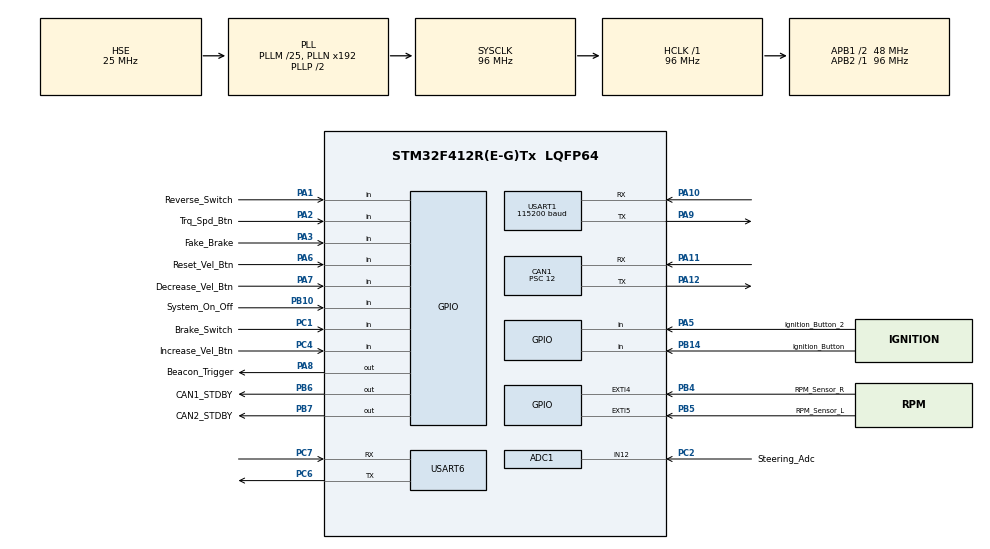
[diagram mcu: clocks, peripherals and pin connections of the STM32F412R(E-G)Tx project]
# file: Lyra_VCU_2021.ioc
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ADC1.Channel-1\#ChannelRegularConversion=ADC_CHANNEL_12
ADC1.ContinuousConvMode=ENABLE
ADC1.DMAContinuousRequests=ENABLE
ADC1.NbrOfConversion=1
ADC1.NbrOfConversionFlag=1
ADC1.Rank-1\#ChannelRegularConversion=1
ADC1.SamplingTime-1\#ChannelRegularConversion=ADC_SAMPLETIME_480CYCLES
ADC1.master=1
CAN1.ABOM=ENABLE
CAN1.BS1=CAN_BS1_13TQ
CAN1.BS2=CAN_BS2_2TQ
CAN1.CalculateBaudRate=250000
CAN1.CalculateTimeBit=4000.00
CAN1.CalculateTimeQuantum=250.0
CAN1.Prescaler=12
Dma.ADC1.2.Direction=DMA_PERIPH_TO_MEMORY
Dma.ADC1.2.FIFOMode=DMA_FIFOMODE_DISABLE
Dma.ADC1.2.Instance=DMA2_Stream0
Dma.ADC1.2.MemDataAlignment=DMA_MDATAALIGN_HALFWORD
Dma.ADC1.2.MemInc=DMA_MINC_ENABLE
Dma.ADC1.2.Mode=DMA_CIRCULAR
Dma.ADC1.2.PeriphDataAlignment=DMA_PDATAALIGN_HALFWORD
Dma.ADC1.2.PeriphInc=DMA_PINC_DISABLE
Dma.ADC1.2.Priority=DMA_PRIORITY_LOW
Dma.Request0=USART1_RX
Dma.Request1=USART1_TX
Dma.Request2=ADC1
Dma.Request3=USART6_RX
Dma.Request4=USART6_TX
Dma.USART1_RX.0.Direction=DMA_PERIPH_TO_MEMORY
Dma.USART1_RX.0.FIFOMode=DMA_FIFOMODE_DISABLE
Dma.USART1_RX.0.Instance=DMA2_Stream2
Dma.USART1_RX.0.MemDataAlignment=DMA_MDATAALIGN_BYTE
Dma.USART1_RX.0.MemInc=DMA_MINC_ENABLE
Dma.USART1_RX.0.Mode=DMA_NORMAL
Dma.USART1_RX.0.PeriphDataAlignment=DMA_PDATAALIGN_BYTE
Dma.USART1_RX.0.PeriphInc=DMA_PINC_DISABLE
Dma.USART1_RX.0.Priority=DMA_PRIORITY_LOW
Dma.USART1_TX.1.Direction=DMA_MEMORY_TO_PERIPH
Dma.USART1_TX.1.FIFOMode=DMA_FIFOMODE_DISABLE
Dma.USART1_TX.1.Instance=DMA2_Stream7
Dma.USART1_TX.1.MemDataAlignment=DMA_MDATAALIGN_BYTE
Dma.USART1_TX.1.MemInc=DMA_MINC_ENABLE
Dma.USART1_TX.1.Mode=DMA_CIRCULAR
Dma.USART1_TX.1.PeriphDataAlignment=DMA_PDATAALIGN_BYTE
Dma.USART1_TX.1.PeriphInc=DMA_PINC_DISABLE
Dma.USART1_TX.1.Priority=DMA_PRIORITY_LOW
Dma.USART6_RX.3.Direction=DMA_PERIPH_TO_MEMORY
Dma.USART6_RX.3.FIFOMode=DMA_FIFOMODE_DISABLE
Dma.USART6_RX.3.Instance=DMA2_Stream1
Dma.USART6_RX.3.MemDataAlignment=DMA_MDATAALIGN_BYTE
Dma.USART6_RX.3.MemInc=DMA_MINC_ENABLE
Dma.USART6_RX.3.Mode=DMA_CIRCULAR
Dma.USART6_RX.3.PeriphDataAlignment=DMA_PDATAALIGN_BYTE
Dma.USART6_RX.3.PeriphInc=DMA_PINC_DISABLE
Dma.USART6_RX.3.Priority=DMA_PRIORITY_LOW
Dma.USART6_TX.4.Direction=DMA_MEMORY_TO_PERIPH
Dma.USART6_TX.4.FIFOMode=DMA_FIFOMODE_DISABLE
Dma.USART6_TX.4.Instance=DMA2_Stream6
Dma.USART6_TX.4.MemDataAlignment=DMA_MDATAALIGN_BYTE
Dma.USART6_TX.4.MemInc=DMA_MINC_ENABLE
Dma.USART6_TX.4.Mode=DMA_CIRCULAR
Dma.USART6_TX.4.PeriphDataAlignment=DMA_PDATAALIGN_BYTE
Dma.USART6_TX.4.PeriphInc=DMA_PINC_DISABLE
Dma.USART6_TX.4.Priority=DMA_PRIORITY_LOW
Mcu.Family=STM32F4
Mcu.Name=STM32F412R(E-G)Tx
Mcu.Package=LQFP64
NVIC.CAN1_RX0_IRQn=true\:15\:0\:true\:false\:true\:true\:true
NVIC.CAN1_RX1_IRQn=true\:15\:0\:true\:false\:true\:true\:true
NVIC.CAN1_TX_IRQn=true\:15\:0\:true\:false\:true\:true\:true
NVIC.DMA2_Stream0_IRQn=true\:0\:0\:false\:false\:true\:false\:true
NVIC.DMA2_Stream1_IRQn=true\:0\:0\:false\:false\:true\:false\:true
NVIC.DMA2_Stream2_IRQn=true\:0\:0\:false\:false\:true\:false\:true
NVIC.DMA2_Stream6_IRQn=true\:0\:0\:false\:false\:true\:false\:true
NVIC.DMA2_Stream7_IRQn=true\:0\:0\:false\:false\:true\:false\:true
NVIC.EXTI4_IRQn=true\:0\:0\:false\:false\:true\:true\:true
NVIC.EXTI9_5_IRQn=true\:0\:0\:false\:false\:true\:true\:true
NVIC.PVD_IRQn=true\:0\:0\:false\:false\:true\:true\:true
NVIC.PriorityGroup=NVIC_PRIORITYGROUP_4
NVIC.TIM6_IRQn=true\:0\:0\:false\:false\:true\:true\:true
PA1.GPIO_Label=Reverse_Switch
PA1.Signal=GPIO_Input
PA10.Mode=Asynchronous
PA10.Signal=USART1_RX
PA11.Mode=CAN_Activate
PA11.Signal=CAN1_RX
PA12.Mode=CAN_Activate
PA12.Signal=CAN1_TX
PA13.Mode=Serial_Wire
PA13.Signal=SYS_JTMS-SWDIO
PA14.Mode=Serial_Wire
PA14.Signal=SYS_JTCK-SWCLK
PA2.GPIO_Label=Trq_Spd_Btn
PA2.GPIO_PuPd=GPIO_PULLUP
PA2.Signal=GPIO_Input
PA3.GPIO_Label=Fake_Brake
PA3.Signal=GPIO_Input
PA5.GPIO_Label=Ignition_Button_2
PA5.GPIO_PuPd=GPIO_NOPULL
PA5.Signal=GPIO_Input
PA6.GPIO_Label=Reset_Vel_Btn
PA6.Signal=GPIO_Input
PA7.GPIO_Label=Decrease_Vel_Btn
PA7.GPIO_PuPd=GPIO_NOPULL
PA7.Signal=GPIO_Input
PA8.GPIO_Label=Beacon_Trigger
PA8.GPIO_PuPd=GPIO_PULLDOWN
PA8.Signal=GPIO_Output
PA9.Mode=Asynchronous
PA9.Signal=USART1_TX
PB10.GPIO_Label=System_On_Off
PB10.Signal=GPIO_Input
PB14.GPIO_Label=Ignition_Button
PB14.Signal=GPIO_Input
PB4.GPIO_Label=RPM_Sensor_R
PB4.GPIO_PuPd=GPIO_PULLUP
PB4.Signal=GPXTI4
PB5.GPIO_Label=RPM_Sensor_L
PB5.Signal=GPXTI5
PB6.GPIO_Label=CAN1_STDBY
PB6.Signal=GPIO_Output
PB7.GPIO_Label=CAN2_STDBY
PB7.Signal=GPIO_Output
PC1.GPIO_Label=Brake_Switch
PC1.GPIO_PuPd=GPIO_PULLDOWN
PC1.Signal=GPIO_Input
PC14-OSC32_IN.Mode=LSE-External-Oscillator
PC14-OSC32_IN.Signal=RCC_OSC32_IN
PC15-OSC32_OUT.Mode=LSE-External-Oscillator
PC15-OSC32_OUT.Signal=RCC_OSC32_OUT
PC2.GPIO_Label=Steering_Adc
PC2.Signal=SharedAnalog_PC2
PC4.GPIO_Label=Increase_Vel_Btn
PC4.GPIO_PuPd=GPIO_NOPULL
PC4.Signal=GPIO_Input
PC6.Mode=Asynchronous
PC6.Signal=USART6_TX
PC7.Mode=Asynchronous
PC7.Signal=USART6_RX
PH0\ -\ OSC_IN.Mode=HSE-External-Oscillator
PH0\ -\ OSC_IN.Signal=RCC_OSC_IN
PH1\ -\ OSC_OUT.Mode=HSE-External-Oscillator
PH1\ -\ OSC_OUT.Signal=RCC_OSC_OUT
ProjectManager.HeapSize=0x200
ProjectManager.StackSize=0x400
ProjectManager.TargetToolchain=STM32CubeIDE
RCC.AHBFreq_Value=96000000
RCC.APB1CLKDivider=RCC_HCLK_DIV2
RCC.APB1Freq_Value=48000000
RCC.APB1TimFreq_Value=96000000
RCC.APB2Freq_Value=96000000
RCC.APB2TimFreq_Value=96000000
RCC.CortexFreq_Value=96000000
RCC.HCLKFreq_Value=96000000
RCC.PLLM=25
RCC.PLLSourceVirtual=RCC_PLLSOURCE_HSE
RCC.SYSCLKFreq_VALUE=96000000
RCC.SYSCLKSource=RCC_SYSCLKSOURCE_PLLCLK
RCC.USBFreq_Value=96000000
RCC.VCOOutputFreq_Value=192000000
SH.SharedAnalog_PC2.0=GPIO_Analog
SH.SharedAnalog_PC2.1=ADC1_IN12,IN12
TIM6.Period=99
TIM6.Prescaler=129
USART1.BaudRate=115200
USART1.VirtualMode=VM_ASYNC
USART6.VirtualMode=VM_ASYNC
VP_TIM6_VS_ClockSourceINT.Mode=Enable_Timer
board=custom

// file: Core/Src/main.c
/* USER CODE BEGIN Header */
/**
  ******************************************************************************
  * @file           : main.c
  * @brief          : Main program body
  ******************************************************************************
  * @attention
  *
  * <h2><center>&copy; Copyright (c) 2021 STMicroelectronics.
  * All rights reserved.</center></h2>
  *
  * This software component is licensed by ST under BSD 3-Clause license,
  * the "License"; You may not use this file except in compliance with the
  * License. You may obtain a copy of the License at:
  *                        opensource.org/licenses/BSD-3-Clause
  *
  ******************************************************************************
  */
/* USER CODE END Header */
#include "main.h"

/* USER CODE BEGIN Includes */
#include "AESK_CAN_Library.h"
#include "AESK_Electronic_Differential.h"
#include "AESK_Data_Pack_lib.h"
#include "Can_Lyra_Header.h"
#include "AESK_VCU_General.h"
#include "AESK_GL.h"
#include "AESK_Ring_Buffer.h"
#include "AESK_UART_STM32.h"
#include "AESK_comm_pro.h"
#include "AESK_VCU_Nextion.h"
/* USER CODE END Includes */

ADC_HandleTypeDef hadc1;
DMA_HandleTypeDef hdma_adc1;

CAN_HandleTypeDef hcan1;

TIM_HandleTypeDef htim6;

UART_HandleTypeDef huart1;
UART_HandleTypeDef huart6;
DMA_HandleTypeDef hdma_usart1_rx;
DMA_HandleTypeDef hdma_usart1_tx;
DMA_HandleTypeDef hdma_usart6_rx;
DMA_HandleTypeDef hdma_usart6_tx;

void SystemClock_Config(void);
static void MX_GPIO_Init(void);
static void MX_DMA_Init(void);
static void MX_ADC1_Init(void);
static void MX_USART1_UART_Init(void);
static void MX_CAN1_Init(void);
static void MX_TIM6_Init(void);
static void MX_USART6_UART_Init(void);

int main(void)
{

  /* MCU Configuration--------------------------------------------------------*/

  /* Reset of all peripherals, Initializes the Flash interface and the Systick. */
  HAL_Init();

  /* Configure the system clock */
  SystemClock_Config();

  /* Initialize all configured peripherals */
  MX_GPIO_Init();
  MX_DMA_Init();
  MX_ADC1_Init();
  MX_USART1_UART_Init();
  MX_CAN1_Init();
  MX_TIM6_Init();
  MX_USART6_UART_Init();
  /* USER CODE BEGIN 2 */
  AESK_Electronic_Dif_Init(&electronic_dif_param, SP_KP, SP_KI, SP_KD, REGEN_RAMP_COEF);
  Nextion_Init();

  //CAN1STDBY Set
  HAL_GPIO_WritePin(CAN1_STDBY_GPIO_Port, CAN1_STDBY_Pin, GPIO_PIN_RESET);
  HAL_GPIO_WritePin(CAN2_STDBY_GPIO_Port, CAN2_STDBY_Pin, GPIO_PIN_SET);

  //Compro Init
#if COM_MODE == COMPRO || COM_MODE == MCU_OLD
  AESK_Compro_Init(&compro_set_can_mcu_rx, Electromobile, VCU, &Solver);
  AESK_Compro_Init(&compro_set_can_bms_rx, Electromobile, VCU, &Solver);
  AESK_Compro_Init(&compro_set_uart_rx, Electromobile, VCU, &Solver);
  AESK_Compro_Init(&compro_set_can_telemetry_rx, Electromobile, VCU, &Solver);
  AESK_GL_Init(&aesk_gl);
  aesk_gl.aesk_can_1.hcan = &hcan1;
  AESK_CAN_ExtIDMaskFilterConfiguration(&aesk_gl.aesk_can_1, 0, 0, CAN_FILTER_FIFO0, 0);

  Uart_DMA_Receive_Start(&RS485_Serial, &uart_buf);
#elif COM_MODE == OLD_COM
  AESK_GL_Init(&aesk_gl);
  aesk_gl.aesk_can_1.hcan = &hcan1;

  AESK_CAN_ExtIDMaskFilterConfiguration(&aesk_gl.aesk_can_1, 0, 0, CAN_FILTER_FIFO0, 0);
#endif

  HAL_ADC_Start_DMA(&hadc1, (uint32_t*)&sensor_data.adc_val_u16, 1);
  HAL_UART_Receive_DMA(&huart1, &screen_data.rx_u8, 1);

  AESK_CAN_Init(&aesk_gl.aesk_can_1, CAN_IT_RX_FIFO0_MSG_PENDING | CAN_IT_TX_MAILBOX_EMPTY);
  /* USER CODE END 2 */

  /* Infinite loop */
  while (1)
  {

    /* USER CODE BEGIN 3 */
	if(sys_timer._1ms_flag == TRUE)
	{
		//ADC Median Filter
		/*static uint8_t ctr = 0;
		static uint64_t adc_sum = 0;
		adc_sum += sensor_data.adc_val_u16;
		ctr++;

		if(ctr == 10)
		{
			sensor_data.filtered_adc_val_u16 = adc_sum / ctr;
			adc_sum = 0;
			ctr = 0;
		}*/
		sys_timer._1ms_flag = FALSE;
	}

	if(sys_timer._20ms_flag == TRUE)
	{

		sys_timer._20ms_flag = FALSE;
	}

	if(sys_timer._10ms_flag == 1)
	{
		//Direksiyon Acisi Hesaplamasi
		/*
		if(sensor_data.filtered_adc_val_u16 > MIDDLE_POINT_ADC_VAL)
		{
			lyra_can_data.tx.telemetry.steering_angle_u8 = ((sensor_data.filtered_adc_val_u16 - MIDDLE_POINT_ADC_VAL) / (MAX_STEERING_ADC_VAL - MIDDLE_POINT_ADC_VAL) * MAX_STEERING_TURN) + MAX_STEERING_TURN;
		}

		else
		{
			lyra_can_data.tx.telemetry.steering_angle_u8 = ((-sensor_data.filtered_adc_val_u16 + MIDDLE_POINT_ADC_VAL) / (MAX_STEERING_ADC_VAL - MIDDLE_POINT_ADC_VAL) * -MAX_STEERING_TURN) + MAX_STEERING_TURN;
		}*/

		sys_timer._10ms_flag = 0;
	}

	if(sys_timer._100ms_flag == TRUE)
	{
		static float old_rpm_f32;
		//RPM to KM/h
		vcu_data.actual_velocity_i8 = lyra_can_data.rx.mcu.motor_rpm_f32 * RPM_TO_KMH_COEF;

		//KM/h to RPM
		lyra_can_data.tx.mcu.speed_set_rpm_i16 = vcu_data.set_velocity_u8 / RPM_TO_KMH_COEF;
		vcu_data.set_rpm_f32 = vcu_data.set_velocity_u8 / RPM_TO_KMH_COEF;

		switch(lyra_can_data.tx.mcu.states_union.states_t.mode)
		{
			case Torque_Control:
			{
				if(lyra_can_data.tx.mcu.states_union.states_t.reverse == ON)
				{
					lyra_can_data.tx.mcu.torque_set_i16 = (vcu_data.set_torque_u8 * -1);
				}

				else
				{
					lyra_can_data.tx.mcu.torque_set_i16 = vcu_data.set_torque_u8;
				}
				break;
			}

			case Speed_Control:
			{
				if(lyra_can_data.tx.mcu.states_union.states_t.reverse == 0)
				{
					if(lyra_can_data.tx.mcu.states_union.states_t.ignition != 0 &&
					   lyra_can_data.tx.mcu.states_union.states_t.brake != 1 )

					{
						//Acceleration Regulation,
//						if()
//						{
//
//						}
						lyra_can_data.tx.mcu.torque_set_i16 = AESK_Speed_PI(electronic_dif_param.min_neg_out, electronic_dif_param.max_pos_out, vcu_data.set_rpm_f32, lyra_can_data.rx.mcu.motor_rpm_f32, DT);
					}

					else
					{
						electronic_dif_param.integral_sum_f32 = 0.0f;
						electronic_dif_param.integral_f32 = 0.0f;
					}
				}

				else
				{
					lyra_can_data.tx.mcu.torque_set_i16 = -1 * (int16_t)vcu_data.set_velocity_u8;
				}
				break;
			}
			default: break;
		}

		//Pack 1
		uint16_t mcu_idx = 0;
		uint8_t mcu_data[8];

		AESK_UINT8toUINT8CODE(&lyra_can_data.tx.mcu.states_union.states_u8, mcu_data, &mcu_idx);
		AESK_INT16toUINT8_LE(&lyra_can_data.tx.mcu.speed_set_rpm_i16, mcu_data, &mcu_idx);
		AESK_INT16toUINT8_LE(&lyra_can_data.tx.mcu.torque_set_i16, mcu_data, &mcu_idx);
		AESK_INT16toUINT8_LE(&lyra_can_data.tx.mcu.torque_set_2_i16, mcu_data, &mcu_idx);
		AESK_UINT8toUINT8CODE(&lyra_can_data.tx.mcu.torque_limit_u8, mcu_data, &mcu_idx);
		AESK_CAN_SendExtIDMessage(&aesk_gl.aesk_can_1, VCU_CAN_ID_1, (uint8_t *)mcu_data, sizeof(mcu_data));

		//Pack 2
		uint16_t packet2_idx = 0;
		uint8_t packet2_data[8];

		AESK_UINT8toUINT8CODE(&lyra_can_data.tx.telemetry.steering_angle_u8, packet2_data, &packet2_idx);
		AESK_INT16toUINT8_LE(&vcu_data.l_rpm_i16, packet2_data, &packet2_idx);
		AESK_INT16toUINT8_LE(&vcu_data.r_rpm_i16, packet2_data, &packet2_idx);
		AESK_CAN_SendExtIDMessage(&aesk_gl.aesk_can_1, VCU_CAN_ID_2, (uint8_t *)packet2_data, sizeof(packet2_data));

		sys_timer._100ms_flag = FALSE;
	}

	 //Buton kontrolu 120ms'de bir yapilarak debounce engellenmiş olunur.
	 if(sys_timer._120ms_flag == TRUE)
	 {
		  AESK_Read_All_Signals();
		  sys_timer._120ms_flag = FALSE;
	 }

 	  //Buffer'a toplanan Nextion komutlari iletilir.
 	 if(sys_timer._200ms_flag == TRUE)
 	 {
 		 if(vcu_data.bms_on_bus == 1)
		 {
			//Tepe Lambasi Kontrolü
			Beacon_Control();
		 }

 		 //Nextion Buffer TX
 		 Send_Buf_2_Nextion();
 		 sys_timer._200ms_flag = 0;
 	  }

 	  if(sys_timer._1000ms_flag == TRUE)
 	  {
#if COM_MODE == COMPRO || COM_MODE == MCU_OLD
 		 static uint64_t anlik_sayac_MCU = 0;
 		 sayac_MCU_1sn = sayac_MCU - anlik_sayac_MCU;
 		 anlik_sayac_MCU  = sayac_MCU;
 		 static uint64_t anlik_sayac_Telemetry = 0;
		 sayac_Telemetry_1sn = sayac_Telemetry - anlik_sayac_Telemetry;
		 anlik_sayac_Telemetry = sayac_Telemetry;
#endif

 		 //On tekerlerin RPM Hesabi
		 if(lyra_can_data.tx.mcu.states_union.states_t.reverse == ON)
		 {
			 vcu_data.l_rpm_i16 = -(sensor_data.l_rim_hole_ctr / 24.0f) * 60.0f;
			 vcu_data.r_rpm_i16 = -(sensor_data.r_rim_hole_ctr / 15.0f) * 60.0f;
		 }

		 else
		 {
			 vcu_data.l_rpm_i16 = (sensor_data.l_rim_hole_ctr / 24.0f) * 60.0f;
			 vcu_data.r_rpm_i16 = (sensor_data.r_rim_hole_ctr / 15.0f) * 60.0f;
		 }

		 sensor_data.l_rim_hole_ctr = 0;
		 sensor_data.r_rim_hole_ctr = 0;

		 //Telemetri Sorgu Cevabi
		 Telemetry_Query_Answer();

 		 //Odometer Hesabi
 		 vcu_data.odometer_u32 += abs(vcu_data.m1_actual_velocity_i8 + vcu_data.m2_actual_velocity_i8) / 2;

 		 sys_timer._1000ms_flag = FALSE;
 	  }
  }
  /* USER CODE END 3 */
}

void SystemClock_Config(void)
{
  RCC_OscInitTypeDef RCC_OscInitStruct = {0};
  RCC_ClkInitTypeDef RCC_ClkInitStruct = {0};

  /** Configure the main internal regulator output voltage
  */
  __HAL_RCC_PWR_CLK_ENABLE();
  __HAL_PWR_VOLTAGESCALING_CONFIG(PWR_REGULATOR_VOLTAGE_SCALE1);
  /** Initializes the RCC Oscillators according to the specified parameters
  * in the RCC_OscInitTypeDef structure.
  */
  RCC_OscInitStruct.OscillatorType = RCC_OSCILLATORTYPE_HSE;
  RCC_OscInitStruct.HSEState = RCC_HSE_ON;
  RCC_OscInitStruct.PLL.PLLState = RCC_PLL_ON;
  RCC_OscInitStruct.PLL.PLLSource = RCC_PLLSOURCE_HSE;
  RCC_OscInitStruct.PLL.PLLM = 25;
  RCC_OscInitStruct.PLL.PLLN = 192;
  RCC_OscInitStruct.PLL.PLLP = RCC_PLLP_DIV2;
  RCC_OscInitStruct.PLL.PLLQ = 2;
  RCC_OscInitStruct.PLL.PLLR = 2;
  if (HAL_RCC_OscConfig(&RCC_OscInitStruct) != HAL_OK)
  {
    Error_Handler();
  }
  /** Initializes the CPU, AHB and APB buses clocks
  */
  RCC_ClkInitStruct.ClockType = RCC_CLOCKTYPE_HCLK|RCC_CLOCKTYPE_SYSCLK
                              |RCC_CLOCKTYPE_PCLK1|RCC_CLOCKTYPE_PCLK2;
  RCC_ClkInitStruct.SYSCLKSource = RCC_SYSCLKSOURCE_PLLCLK;
  RCC_ClkInitStruct.AHBCLKDivider = RCC_SYSCLK_DIV1;
  RCC_ClkInitStruct.APB1CLKDivider = RCC_HCLK_DIV2;
  RCC_ClkInitStruct.APB2CLKDivider = RCC_HCLK_DIV1;

  if (HAL_RCC_ClockConfig(&RCC_ClkInitStruct, FLASH_LATENCY_3) != HAL_OK)
  {
    Error_Handler();
  }
}

static void MX_ADC1_Init(void)
{

  ADC_ChannelConfTypeDef sConfig = {0};

  /** Configure the global features of the ADC (Clock, Resolution, Data Alignment and number of conversion)
  */
  hadc1.Instance = ADC1;
  hadc1.Init.ClockPrescaler = ADC_CLOCK_SYNC_PCLK_DIV4;
  hadc1.Init.Resolution = ADC_RESOLUTION_12B;
  hadc1.Init.ScanConvMode = DISABLE;
  hadc1.Init.ContinuousConvMode = ENABLE;
  hadc1.Init.DiscontinuousConvMode = DISABLE;
  hadc1.Init.ExternalTrigConvEdge = ADC_EXTERNALTRIGCONVEDGE_NONE;
  hadc1.Init.ExternalTrigConv = ADC_SOFTWARE_START;
  hadc1.Init.DataAlign = ADC_DATAALIGN_RIGHT;
  hadc1.Init.NbrOfConversion = 1;
  hadc1.Init.DMAContinuousRequests = ENABLE;
  hadc1.Init.EOCSelection = ADC_EOC_SINGLE_CONV;
  if (HAL_ADC_Init(&hadc1) != HAL_OK)
  {
    Error_Handler();
  }
  /** Configure for the selected ADC regular channel its corresponding rank in the sequencer and its sample time.
  */
  sConfig.Channel = ADC_CHANNEL_12;
  sConfig.Rank = 1;
  sConfig.SamplingTime = ADC_SAMPLETIME_480CYCLES;
  if (HAL_ADC_ConfigChannel(&hadc1, &sConfig) != HAL_OK)
  {
    Error_Handler();
  }

}

static void MX_CAN1_Init(void)
{

  hcan1.Instance = CAN1;
  hcan1.Init.Prescaler = 12;
  hcan1.Init.Mode = CAN_MODE_NORMAL;
  hcan1.Init.SyncJumpWidth = CAN_SJW_1TQ;
  hcan1.Init.TimeSeg1 = CAN_BS1_13TQ;
  hcan1.Init.TimeSeg2 = CAN_BS2_2TQ;
  hcan1.Init.TimeTriggeredMode = DISABLE;
  hcan1.Init.AutoBusOff = ENABLE;
  hcan1.Init.AutoWakeUp = DISABLE;
  hcan1.Init.AutoRetransmission = DISABLE;
  hcan1.Init.ReceiveFifoLocked = DISABLE;
  hcan1.Init.TransmitFifoPriority = DISABLE;
  if (HAL_CAN_Init(&hcan1) != HAL_OK)
  {
    Error_Handler();
  }

}

static void MX_TIM6_Init(void)
{

  TIM_MasterConfigTypeDef sMasterConfig = {0};

  htim6.Instance = TIM6;
  htim6.Init.Prescaler = 129;
  htim6.Init.CounterMode = TIM_COUNTERMODE_UP;
  htim6.Init.Period = 99;
  htim6.Init.AutoReloadPreload = TIM_AUTORELOAD_PRELOAD_DISABLE;
  if (HAL_TIM_Base_Init(&htim6) != HAL_OK)
  {
    Error_Handler();
  }
  sMasterConfig.MasterOutputTrigger = TIM_TRGO_RESET;
  sMasterConfig.MasterSlaveMode = TIM_MASTERSLAVEMODE_DISABLE;
  if (HAL_TIMEx_MasterConfigSynchronization(&htim6, &sMasterConfig) != HAL_OK)
  {
    Error_Handler();
  }

}

static void MX_USART1_UART_Init(void)
{

  huart1.Instance = USART1;
  huart1.Init.BaudRate = 115200;
  huart1.Init.WordLength = UART_WORDLENGTH_8B;
  huart1.Init.StopBits = UART_STOPBITS_1;
  huart1.Init.Parity = UART_PARITY_NONE;
  huart1.Init.Mode = UART_MODE_TX_RX;
  huart1.Init.HwFlowCtl = UART_HWCONTROL_NONE;
  huart1.Init.OverSampling = UART_OVERSAMPLING_16;
  if (HAL_UART_Init(&huart1) != HAL_OK)
  {
    Error_Handler();
  }

}

static void MX_USART6_UART_Init(void)
{

  huart6.Instance = USART6;
  huart6.Init.BaudRate = 115200;
  huart6.Init.WordLength = UART_WORDLENGTH_8B;
  huart6.Init.StopBits = UART_STOPBITS_1;
  huart6.Init.Parity = UART_PARITY_NONE;
  huart6.Init.Mode = UART_MODE_TX_RX;
  huart6.Init.HwFlowCtl = UART_HWCONTROL_NONE;
  huart6.Init.OverSampling = UART_OVERSAMPLING_16;
  if (HAL_UART_Init(&huart6) != HAL_OK)
  {
    Error_Handler();
  }

}

static void MX_DMA_Init(void)
{

  /* DMA controller clock enable */
  __HAL_RCC_DMA2_CLK_ENABLE();

  /* DMA interrupt init */
  /* DMA2_Stream0_IRQn interrupt configuration */
  HAL_NVIC_SetPriority(DMA2_Stream0_IRQn, 0, 0);
  HAL_NVIC_EnableIRQ(DMA2_Stream0_IRQn);
  /* DMA2_Stream1_IRQn interrupt configuration */
  HAL_NVIC_SetPriority(DMA2_Stream1_IRQn, 0, 0);
  HAL_NVIC_EnableIRQ(DMA2_Stream1_IRQn);
  /* DMA2_Stream2_IRQn interrupt configuration */
  HAL_NVIC_SetPriority(DMA2_Stream2_IRQn, 0, 0);
  HAL_NVIC_EnableIRQ(DMA2_Stream2_IRQn);
  /* DMA2_Stream6_IRQn interrupt configuration */
  HAL_NVIC_SetPriority(DMA2_Stream6_IRQn, 0, 0);
  HAL_NVIC_EnableIRQ(DMA2_Stream6_IRQn);
  /* DMA2_Stream7_IRQn interrupt configuration */
  HAL_NVIC_SetPriority(DMA2_Stream7_IRQn, 0, 0);
  HAL_NVIC_EnableIRQ(DMA2_Stream7_IRQn);

}

static void MX_GPIO_Init(void)
{
  GPIO_InitTypeDef GPIO_InitStruct = {0};

  /* GPIO Ports Clock Enable */
  __HAL_RCC_GPIOC_CLK_ENABLE();
  __HAL_RCC_GPIOH_CLK_ENABLE();
  __HAL_RCC_GPIOA_CLK_ENABLE();
  __HAL_RCC_GPIOB_CLK_ENABLE();

  /*Configure GPIO pin Output Level */
  HAL_GPIO_WritePin(Beacon_Trigger_GPIO_Port, Beacon_Trigger_Pin, GPIO_PIN_RESET);

  /*Configure GPIO pin Output Level */
  HAL_GPIO_WritePin(GPIOB, CAN1_STDBY_Pin|CAN2_STDBY_Pin, GPIO_PIN_RESET);

  /*Configure GPIO pin : Brake_Switch_Pin */
  GPIO_InitStruct.Pin = Brake_Switch_Pin;
  GPIO_InitStruct.Mode = GPIO_MODE_INPUT;
  GPIO_InitStruct.Pull = GPIO_PULLDOWN;
  HAL_GPIO_Init(Brake_Switch_GPIO_Port, &GPIO_InitStruct);

  /*Configure GPIO pins : Reverse_Switch_Pin Fake_Brake_Pin Ignition_Button_2_Pin Reset_Vel_Btn_Pin
                           Decrease_Vel_Btn_Pin */
  GPIO_InitStruct.Pin = Reverse_Switch_Pin|Fake_Brake_Pin|Ignition_Button_2_Pin|Reset_Vel_Btn_Pin
                          |Decrease_Vel_Btn_Pin;
  GPIO_InitStruct.Mode = GPIO_MODE_INPUT;
  GPIO_InitStruct.Pull = GPIO_NOPULL;
  HAL_GPIO_Init(GPIOA, &GPIO_InitStruct);

  /*Configure GPIO pin : Trq_Spd_Btn_Pin */
  GPIO_InitStruct.Pin = Trq_Spd_Btn_Pin;
  GPIO_InitStruct.Mode = GPIO_MODE_INPUT;
  GPIO_InitStruct.Pull = GPIO_PULLUP;
  HAL_GPIO_Init(Trq_Spd_Btn_GPIO_Port, &GPIO_InitStruct);

  /*Configure GPIO pin : Increase_Vel_Btn_Pin */
  GPIO_InitStruct.Pin = Increase_Vel_Btn_Pin;
  GPIO_InitStruct.Mode = GPIO_MODE_INPUT;
  GPIO_InitStruct.Pull = GPIO_NOPULL;
  HAL_GPIO_Init(Increase_Vel_Btn_GPIO_Port, &GPIO_InitStruct);

  /*Configure GPIO pins : System_On_Off_Pin Ignition_Button_Pin */
  GPIO_InitStruct.Pin = System_On_Off_Pin|Ignition_Button_Pin;
  GPIO_InitStruct.Mode = GPIO_MODE_INPUT;
  GPIO_InitStruct.Pull = GPIO_NOPULL;
  HAL_GPIO_Init(GPIOB, &GPIO_InitStruct);

  /*Configure GPIO pin : Beacon_Trigger_Pin */
  GPIO_InitStruct.Pin = Beacon_Trigger_Pin;
  GPIO_InitStruct.Mode = GPIO_MODE_OUTPUT_PP;
  GPIO_InitStruct.Pull = GPIO_PULLDOWN;
  GPIO_InitStruct.Speed = GPIO_SPEED_FREQ_LOW;
  HAL_GPIO_Init(Beacon_Trigger_GPIO_Port, &GPIO_InitStruct);

  /*Configure GPIO pin : RPM_Sensor_R_Pin */
  GPIO_InitStruct.Pin = RPM_Sensor_R_Pin;
  GPIO_InitStruct.Mode = GPIO_MODE_IT_RISING;
  GPIO_InitStruct.Pull = GPIO_PULLUP;
  HAL_GPIO_Init(RPM_Sensor_R_GPIO_Port, &GPIO_InitStruct);

  /*Configure GPIO pin : RPM_Sensor_L_Pin */
  GPIO_InitStruct.Pin = RPM_Sensor_L_Pin;
  GPIO_InitStruct.Mode = GPIO_MODE_IT_RISING;
  GPIO_InitStruct.Pull = GPIO_NOPULL;
  HAL_GPIO_Init(RPM_Sensor_L_GPIO_Port, &GPIO_InitStruct);

  /*Configure GPIO pins : CAN1_STDBY_Pin CAN2_STDBY_Pin */
  GPIO_InitStruct.Pin = CAN1_STDBY_Pin|CAN2_STDBY_Pin;
  GPIO_InitStruct.Mode = GPIO_MODE_OUTPUT_PP;
  GPIO_InitStruct.Pull = GPIO_NOPULL;
  GPIO_InitStruct.Speed = GPIO_SPEED_FREQ_LOW;
  HAL_GPIO_Init(GPIOB, &GPIO_InitStruct);

  /* EXTI interrupt init*/
  HAL_NVIC_SetPriority(EXTI4_IRQn, 0, 0);
  HAL_NVIC_EnableIRQ(EXTI4_IRQn);

  HAL_NVIC_SetPriority(EXTI9_5_IRQn, 0, 0);
  HAL_NVIC_EnableIRQ(EXTI9_5_IRQn);

}

void Error_Handler(void)
{
  __disable_irq();
  while (1)
  {
  }
}

/************************ (C) COPYRIGHT STMicroelectronics *****END OF FILE****/
